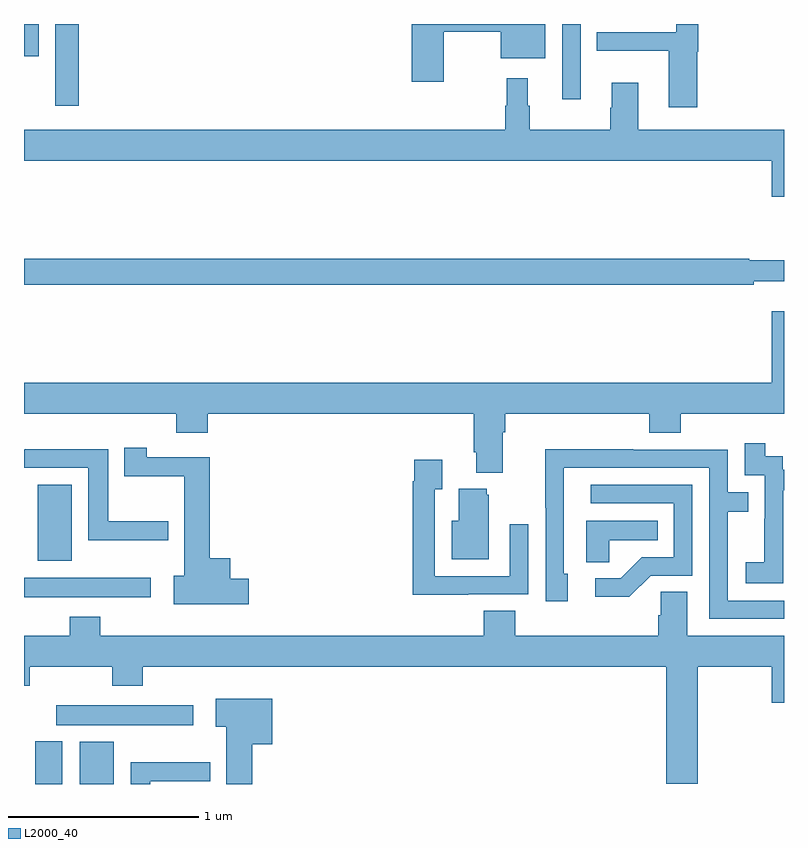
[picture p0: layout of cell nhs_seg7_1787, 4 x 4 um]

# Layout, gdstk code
import gdstk
lib = gdstk.Library(unit=1e-6, precision=1e-09)
def R(c, l, rs):  # rectangles x0, y0, x1, y1
    for r in rs: c.add(gdstk.rectangle(r[:2], r[2:], *l))
def P(c, l, *ps):  # polygons
    for p in ps: c.add(gdstk.Polygon(p, *l))
L2000_40 = (2000, 40)

nhs_seg7_1787 = lib.new_cell('nhs_seg7_1787')
R(nhs_seg7_1787, L2000_40, [(233.06,1000,233.2,1000.225), (233.294,1000,233.473,1000.222), (233.169,1000.31,233.89,1000.414), (233,1000.982,233.668,1001.086), (233.072,1001.174,233.251,1001.575), (233.165,1003.569,233.287,1004), (235.833,1003.605,235.929,1004), (233,1003.829,233.077,1004)])
P(nhs_seg7_1787, L2000_40, [(235.21,1003.96),(235.508,1003.96),(235.508,1003.82),(235.744,1003.82),(235.744,1004),(235.04,1004),(235.04,1003.695),(235.21,1003.695)],
  [(236.543,1003.853),(236.549,1003.853),(236.549,1004),(236.433,1004),(236.433,1003.956),(236.014,1003.956),(236.014,1003.859),(236.393,1003.859),(236.393,1003.563),(236.543,1003.563)],
  [(237,1003.444),(236.233,1003.444),(236.233,1003.69),(236.093,1003.69),(236.093,1003.559),(236.086,1003.559),(236.086,1003.444),(235.663,1003.444),(235.663,1003.571),(235.652,1003.571),(235.652,1003.714),(235.542,1003.714),(235.542,1003.571),(235.534,1003.571),(235.534,1003.444),(233,1003.444),(233,1003.28),(236.936,1003.28),(236.936,1003.092),(237,1003.092)],
  [(236.84,1002.647),(237,1002.647),(237,1002.757),(236.818,1002.757),(236.818,1002.764),(233,1002.764),(233,1002.628),(236.84,1002.628)],
  [(233,1001.948),(233.801,1001.948),(233.801,1001.849),(233.966,1001.849),(233.966,1001.948),(235.367,1001.948),(235.367,1001.746),(235.379,1001.746),(235.379,1001.639),(235.519,1001.639),(235.519,1001.852),(235.532,1001.852),(235.532,1001.948),(236.291,1001.948),(236.291,1001.849),(236.456,1001.849),(236.456,1001.948),(237,1001.948),(237,1002.487),(236.936,1002.487),(236.936,1002.112),(233,1002.112)],
  [(236.997,1001.263),(236.996,1001.263),(236.996,1001.547),(237,1001.547),(237,1001.655),(236.994,1001.655),(236.994,1001.724),(236.902,1001.724),(236.902,1001.794),(236.793,1001.794),(236.793,1001.625),(236.898,1001.625),(236.898,1001.396),(236.897,1001.396),(236.897,1001.167),(236.799,1001.167),(236.799,1001.057),(236.997,1001.057)],
  [(234.184,1001.081),(234.085,1001.081),(234.085,1001.188),(233.978,1001.188),(233.978,1001.719),(233.646,1001.719),(233.646,1001.77),(233.528,1001.77),(233.528,1001.62),(233.843,1001.62),(233.843,1001.096),(233.787,1001.096),(233.787,1000.946),(234.184,1000.946)],
  [(237,1000.965),(236.703,1000.965),(236.703,1001.434),(236.813,1001.434),(236.813,1001.535),(236.703,1001.535),(236.703,1001.76),(236.207,1001.76),(236.207,1001.762),(235.744,1001.762),(235.744,1001.455),(235.746,1001.455),(235.746,1000.962),(235.861,1000.962),(235.861,1001.106),(235.842,1001.106),(235.842,1001.664),(236.607,1001.664),(236.607,1000.869),(237,1000.869)],
  [(233.758,1001.382),(233.443,1001.382),(233.443,1001.762),(233.005,1001.762),(233.005,1001.76),(233,1001.76),(233,1001.664),(233.339,1001.664),(233.339,1001.282),(233.758,1001.282)],
  [(235.337,1000.998),(235.653,1000.998),(235.653,1001.368),(235.557,1001.368),(235.557,1001.094),(235.161,1001.094),(235.161,1001.551),(235.201,1001.551),(235.201,1001.707),(235.053,1001.707),(235.053,1001.594),(235.045,1001.594),(235.045,1000.997),(235.337,1000.997)],
  [(236.298,1001.097),(236.517,1001.097),(236.517,1001.574),(235.983,1001.574),(235.983,1001.478),(236.421,1001.478),(236.421,1001.193),(236.252,1001.193),(236.141,1001.082),(236.007,1001.082),(236.007,1000.985),(236.185,1000.985)],
  [(235.447,1001.523),(235.436,1001.523),(235.436,1001.554),(235.289,1001.554),(235.289,1001.386),(235.25,1001.386),(235.25,1001.183),(235.447,1001.183)],
  [(236.079,1001.282),(236.336,1001.282),(236.336,1001.386),(235.958,1001.386),(235.958,1001.167),(236.079,1001.167)],
  [(233.242,1000.879),(233.242,1000.78),(233,1000.78),(233,1000.517),(233.031,1000.517),(233.031,1000.616),(233.464,1000.616),(233.464,1000.517),(233.624,1000.517),(233.624,1000.616),(236.381,1000.616),(236.381,1000.002),(236.545,1000.002),(236.545,1000.616),(236.936,1000.616),(236.936,1000.428),(237,1000.428),(237,1000.78),(236.491,1000.78),(236.491,1001.012),(236.352,1001.012),(236.352,1000.889),(236.339,1000.889),(236.339,1000.78),(235.586,1000.78),(235.586,1000.913),(235.421,1000.913),(235.421,1000.78),(233.402,1000.78),(233.402,1000.879)],
  [(234.2,1000.208),(234.307,1000.208),(234.307,1000.45),(234.009,1000.45),(234.009,1000.301),(234.065,1000.301),(234.065,1000),(234.2,1000)],
  [(233.665,1000.015),(233.98,1000.015),(233.98,1000.115),(233.561,1000.115),(233.561,1000),(233.665,1000)])

lib.write_gds('nhs_seg7_1787.gds')
